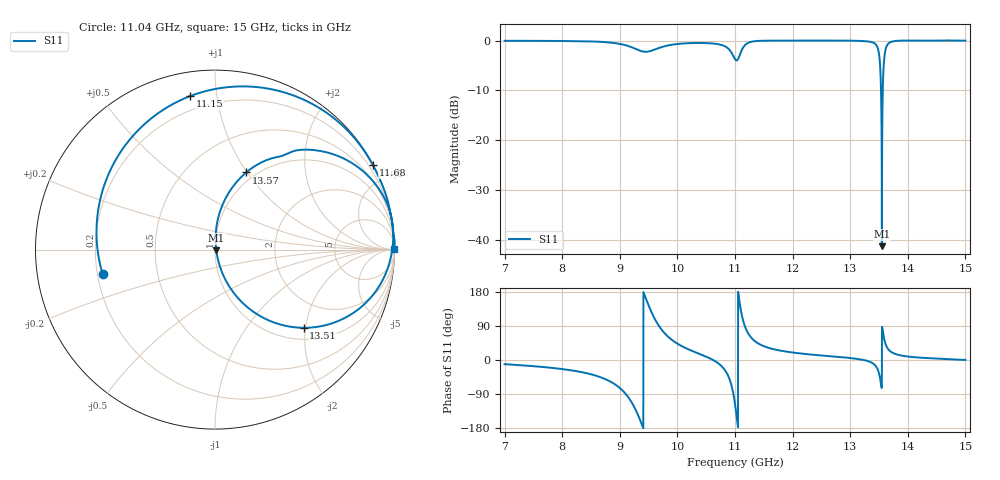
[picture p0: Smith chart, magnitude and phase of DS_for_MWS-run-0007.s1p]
! TOUCHSTONE file generated by CST DESIGN STUDIO
! Date and time: Mon Feb 10 16:44:13 2025
! Project name: C:\Work\MatlabApps\UnitCellType2OptimizationMatlab\CST\unitcell.cst
! Tree item: Tasks\Sweep1\SPara1\S-Parameters
! Header version: 2024
! Port assignment regex: !\s*Touchstone port\s*([0-9]+)\s*=\s*(CST MWS port|CST DES external port|CST DES block port)\s*(.+)\s* \(\"(.*)\"\)(\s*mode\s*([0-9]+))?.*
! Touchstone port assignment:
! Touchstone port 1 = CST DES external port 1 ("")
# GHz S MA R 50
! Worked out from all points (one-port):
!   4001 points, 7 GHz to 15 GHz, reference 50 ohm
!   lowest |S11| = -41.2 dB at 13.55 GHz (marker M1), VSWR 1.02, Z = 50.7 - j0.504 ohm
!   |S11| at or under -10 dB: 13.53496 GHz to 13.56545 GHz (30.49 MHz wide, 0.225 % of centre)
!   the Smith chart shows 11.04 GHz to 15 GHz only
!   S11 on the Smith chart (normalised r, x): 11.04 GHz: 0.22, -0.10; 11.15 GHz: 0.12, +0.84; 11.68 GHz: 0.02, +3.98; 13.51 GHz: 1.27, -1.95; 13.57 GHz: 0.91, +0.99; 15 GHz: open
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7  0.994 -11.0
8  0.9898 -24.0
8.628  0.9738 -43.5
9  0.925 -73.8
9.224  0.8488 -116.5
9.416  0.7737 176.9
9.534  0.7857 131.7
9.642  0.8272 99.0
10  0.9236 43.1
10.758  0.906 -15.0
10.892  0.821 -45.6
11  0.6514 -116.0
11.044  0.6408 -167.9
11.086  0.7255 145.2
11.15  0.8663 99.2
11.328  0.9823 51.9
11.678  0.9976 28.2
12  0.9996 19.8
13  0.9975 5.1
13.406  0.9497 -10.2
13.482  0.8278 -26.7
13.51  0.6586 -41.4
13.55  0.008693 -34.9
13.574  0.4638 68.0
13.612  0.8041 43.1
13.688  0.9561 24.0
14  0.9995 9.1
15  0.9968 0.2
